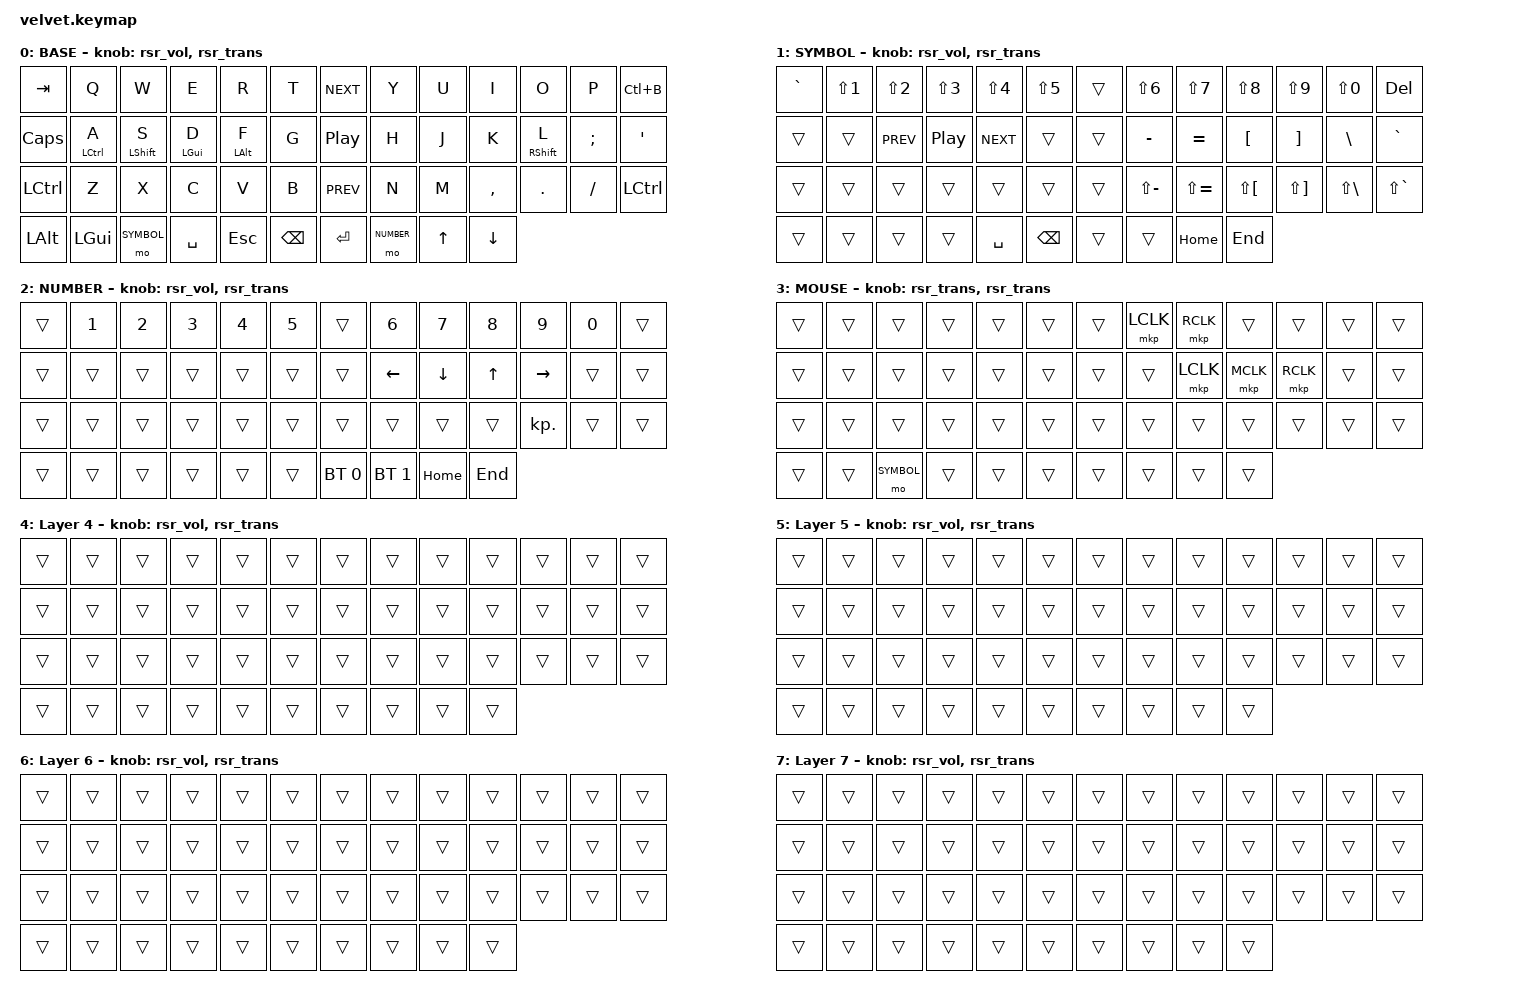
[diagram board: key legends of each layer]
#define BASE 0
#define SYMBOL 1
#define NUMBER 2
#define MOUSE 3

#include <zephyr/dt-bindings/input/input-event-codes.h>
#include <input/processors.dtsi>
#include <behaviors/runtime-sensor-rotate.dtsi>
#include <behaviors.dtsi>
#include <dt-bindings/zmk/bt.h>
#include <dt-bindings/zmk/keys.h>
#include <dt-bindings/zmk/pointing.h>
#include <dt-bindings/zmk/rgb.h>

&mmv_input_listener { input-processors = <&zip_xy_scaler 2 1>; };

&msc_input_listener { input-processors = <&zip_scroll_scaler 2 1>; };

&msc {
    acceleration-exponent = <1>;      // 0
    time-to-max-speed-ms = <100>;       // 300
    delay-ms = <0>;                   // 0
};

&mmv {
    time-to-max-speed-ms = <500>;
    acceleration-exponent = <1>;
    trigger-period-ms = <16>;
};

/ {
    scroll_encoder: scroll_encoder {
        compatible = "zmk,behavior-sensor-rotate";
        #sensor-binding-cells = <0>;
        bindings = <&msc SCRL_UP>, <&msc SCRL_DOWN>;

        tap-ms = <100>;
    };

    behaviors {
        opt_mt: opt_mt {
            compatible = "zmk,behavior-hold-tap";
            label = "Optimized Mod-Tap";
            display-name = "Optimized Mod-Tap";
            bindings = <&kp>, <&kp>;
            #binding-cells = <2>;
            flavor = "balanced";
            tapping-term-ms = <280>;
            quick-tap-ms = <175>;
            require-prior-idle-ms = <150>;
            hold-trigger-on-release;
        };

        opt_mt_2: opt_mt_2 {
            compatible = "zmk,behavior-hold-tap";
            label = "More Sensitive Optimized Mod-Tap";
            display-name = "More Sensitive Optimized Mod-Tap";
            bindings = <&kp>, <&kp>;
            #binding-cells = <2>;
            tapping-term-ms = <200>;
            hold-trigger-on-release;
            flavor = "balanced";
            quick-tap-ms = <175>;
            require-prior-idle-ms = <150>;
        };

        td0: td0 {
            compatible = "zmk,behavior-tap-dance";
            display-name = "Shift/Caps Lock Tap Dance";
            #binding-cells = <0>;
            bindings = <&kp LEFT_SHIFT>, <&kp CAPS>;
        };

        ltq: ltq {
            compatible = "zmk,behavior-hold-tap";
            label = "LTQ";
            bindings = <&mo>, <&kp>;

            #binding-cells = <2>;
            tapping-term-ms = <200>;
            quick-tap-ms = <180>;
        };

        rsr_vol: rsr_vol {
            compatible = "zmk,behavior-runtime-sensor-rotate";
            #sensor-binding-cells = <0>;
            tap-ms = <5>;
            cw-binding = <&kp C_VOL_UP>;
            ccw-binding = <&kp C_VOL_DN>;
        };
    };

    combos {
        compatible = "zmk,combos";

        flash {
            bindings = <&bootloader>;
            key-positions = <0 11>;
        };
    };

    keymap {
        compatible = "zmk,keymap";

        base_layer {
            display-name = "BASE";
            bindings = <
            &kp TAB              &kp Q                &kp W                &kp E                &kp R                &kp T                &kp C_NEXT           &kp Y                &kp U                &kp I                &kp O                &kp P                &kp LC(B)
            &kp CAPSLOCK         &opt_mt LCTRL A      &opt_mt_2 LSHIFT S   &opt_mt LGUI D       &opt_mt LALT F       &kp G                &kp C_PLAY_PAUSE     &kp H                &kp J                &kp K                &opt_mt_2 RSHIFT L   &kp SEMI             &kp SQT
            &kp LCTRL            &kp Z                &kp X                &kp C                &kp V                &kp B                &kp C_PREV           &kp N                &kp M                &kp COMMA            &kp DOT              &kp SLASH            &kp LCTRL
            &kp LALT             &kp LGUI             &mo SYMBOL           &kp SPACE            &kp ESC              &kp BSPC             &kp ENTER            &mo NUMBER           &kp UP               &kp DOWN
            >;

            sensor-bindings = <&rsr_vol &rsr_trans>;
        };

        symbol_layer {
            display-name = "SYMBOL";
            bindings = <
            &kp GRAVE          &kp LS(N1)         &kp LS(N2)         &kp LS(N3)         &kp LS(N4)         &kp LS(N5)         &trans             &kp LS(N6)         &kp LS(N7)         &kp LS(N8)         &kp LS(N9)         &kp LS(N0)         &kp DELETE
            &trans             &trans             &kp C_PREV         &kp C_PLAY_PAUSE   &kp C_NEXT         &trans             &trans             &kp MINUS          &kp EQUAL          &kp LBKT           &kp RBKT           &kp BSLH           &kp GRAVE
            &trans             &trans             &trans             &trans             &trans             &trans             &trans             &kp LS(MINUS)      &kp LS(EQUAL)      &kp LS(LBKT)       &kp LS(RBKT)       &kp LS(BSLH)       &kp LS(GRAVE)
            &trans             &trans             &trans             &trans             &kp SPACE          &kp BSPC           &trans             &trans             &kp HOME           &kp END
            >;

            sensor-bindings = <&rsr_vol &rsr_trans>;
        };

        number_layer {
            display-name = "NUMBER";
            bindings = <
            &trans         &kp N1         &kp N2         &kp N3         &kp N4         &kp N5         &trans         &kp N6         &kp N7         &kp N8         &kp N9         &kp N0         &trans
            &trans         &trans         &trans         &trans         &trans         &trans         &trans         &kp LEFT       &kp DOWN       &kp UP         &kp RIGHT      &trans         &trans
            &trans         &trans         &trans         &trans         &trans         &trans         &trans         &trans         &trans         &trans         &kp KP_DOT     &trans         &trans
            &trans         &trans         &trans         &trans         &trans         &trans         &bt BT_SEL 0   &bt BT_SEL 1   &kp HOME       &kp END
            >;

            sensor-bindings = <&rsr_vol &rsr_trans>;
        };

        mouse_layer {
            display-name = "MOUSE";
            bindings = <
            &trans       &trans       &trans       &trans       &trans       &trans       &trans       &mkp LCLK    &mkp RCLK    &trans       &trans       &trans       &trans
            &trans       &trans       &trans       &trans       &trans       &trans       &trans       &trans       &mkp LCLK    &mkp MCLK    &mkp RCLK    &trans       &trans
            &trans       &trans       &trans       &trans       &trans       &trans       &trans       &trans       &trans       &trans       &trans       &trans       &trans
            &trans       &trans       &mo SYMBOL   &trans       &trans       &trans       &trans       &trans       &trans       &trans
            >;

            sensor-bindings = <&rsr_trans &rsr_trans>;
        };

        layer_4 {
            display-name = "Layer 4";
            bindings = <
            &trans   &trans   &trans   &trans   &trans   &trans   &trans   &trans   &trans   &trans   &trans   &trans   &trans
            &trans   &trans   &trans   &trans   &trans   &trans   &trans   &trans   &trans   &trans   &trans   &trans   &trans
            &trans   &trans   &trans   &trans   &trans   &trans   &trans   &trans   &trans   &trans   &trans   &trans   &trans
            &trans   &trans   &trans   &trans   &trans   &trans   &trans   &trans   &trans   &trans
            >;

            sensor-bindings = <&rsr_vol &rsr_trans>;
        };

        layer_5 {
            display-name = "Layer 5";
            bindings = <
            &trans   &trans   &trans   &trans   &trans   &trans   &trans   &trans   &trans   &trans   &trans   &trans   &trans
            &trans   &trans   &trans   &trans   &trans   &trans   &trans   &trans   &trans   &trans   &trans   &trans   &trans
            &trans   &trans   &trans   &trans   &trans   &trans   &trans   &trans   &trans   &trans   &trans   &trans   &trans
            &trans   &trans   &trans   &trans   &trans   &trans   &trans   &trans   &trans   &trans
            >;

            sensor-bindings = <&rsr_vol &rsr_trans>;
        };

        layer_6 {
            display-name = "Layer 6";
            bindings = <
            &trans   &trans   &trans   &trans   &trans   &trans   &trans   &trans   &trans   &trans   &trans   &trans   &trans
            &trans   &trans   &trans   &trans   &trans   &trans   &trans   &trans   &trans   &trans   &trans   &trans   &trans
            &trans   &trans   &trans   &trans   &trans   &trans   &trans   &trans   &trans   &trans   &trans   &trans   &trans
            &trans   &trans   &trans   &trans   &trans   &trans   &trans   &trans   &trans   &trans
            >;

            sensor-bindings = <&rsr_vol &rsr_trans>;
        };

        layer_7 {
            display-name = "Layer 7";
            bindings = <
            &trans   &trans   &trans   &trans   &trans   &trans   &trans   &trans   &trans   &trans   &trans   &trans   &trans
            &trans   &trans   &trans   &trans   &trans   &trans   &trans   &trans   &trans   &trans   &trans   &trans   &trans
            &trans   &trans   &trans   &trans   &trans   &trans   &trans   &trans   &trans   &trans   &trans   &trans   &trans
            &trans   &trans   &trans   &trans   &trans   &trans   &trans   &trans   &trans   &trans
            >;

            sensor-bindings = <&rsr_vol &rsr_trans>;
        };
    };
};
